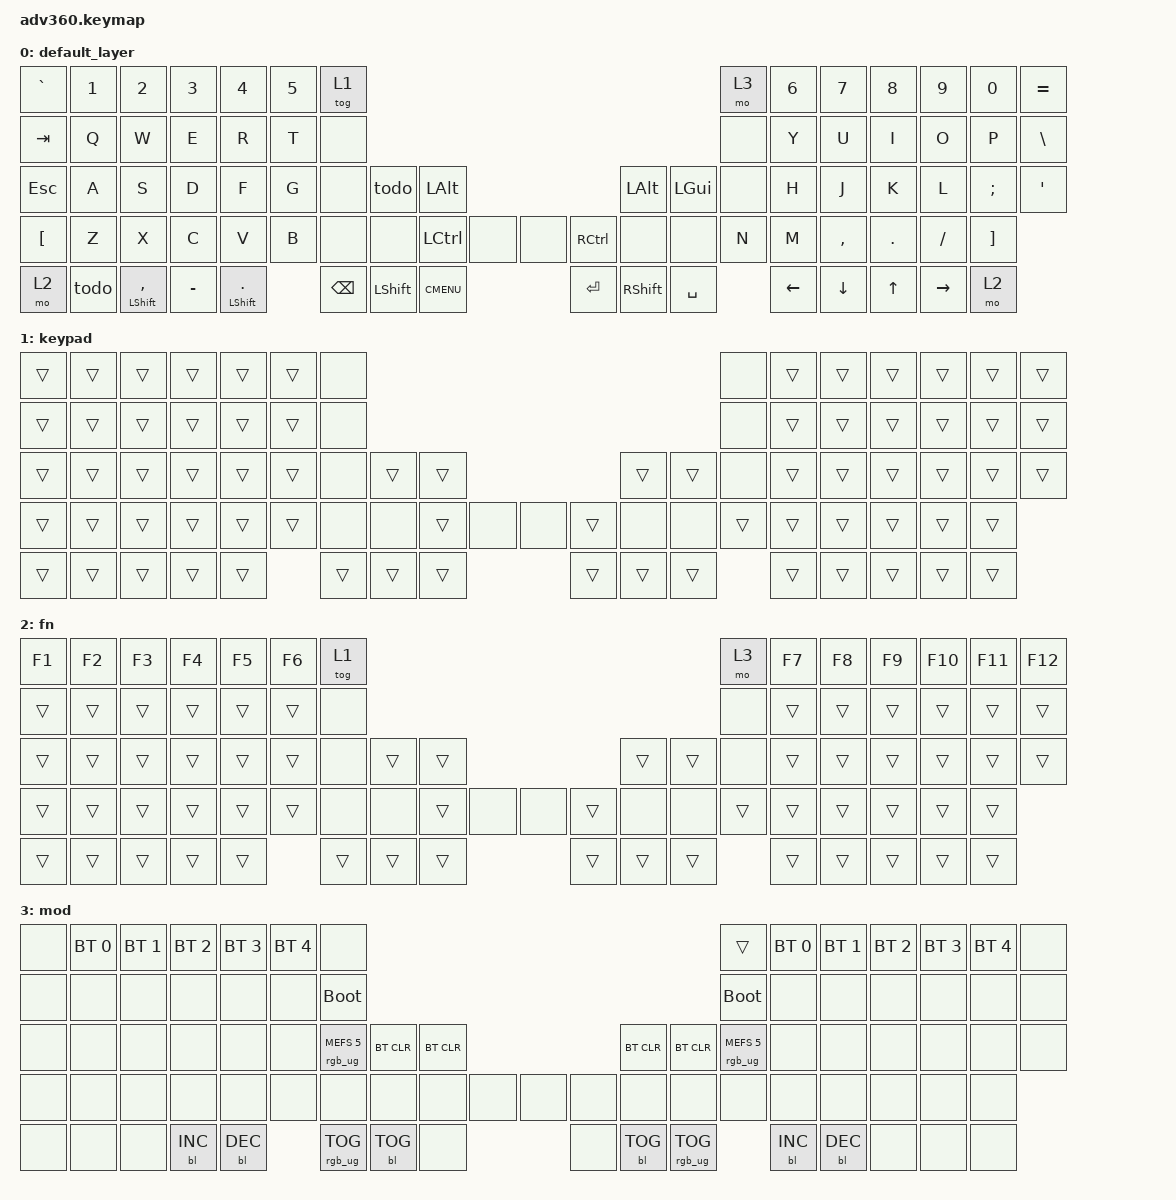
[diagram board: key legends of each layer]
#include <behaviors.dtsi>
#include <dt-bindings/zmk/keys.h>
#include <dt-bindings/zmk/bt.h>
#include <dt-bindings/zmk/rgb.h>
#include <dt-bindings/zmk/backlight.h>

#define todo none

/ {
    behaviors {
      #include "macros.dtsi"

      hm: homerow_mods {
          compatible = "zmk,behavior-hold-tap";
          label = "HOMEROW_MODS";
          #binding-cells = <2>;
          tapping-term-ms = <200>;
          quick_tap_ms = <175>;
          flavor = "tap-preferred";
          bindings = <&kp>, <&kp>;
      };
    };

  keymap {
    compatible = "zmk,keymap";

    default_layer {
      bindings = <
        &kp GRAVE &kp N1    &kp N2          &kp N3    &kp N4        &kp N5 &tog 1                                                                          &mo 3 &kp N6 &kp N7   &kp N8    &kp N9   &kp N0    &kp EQUAL
        &kp TAB   &kp Q     &kp W           &kp E     &kp R         &kp T  &none                                                                           &none &kp Y  &kp U    &kp I     &kp O    &kp P     &kp BSLH
        &kp ESC   &kp A     &kp S           &kp D     &kp F         &kp G  &none           &todo     &kp LALT                &kp LALT  &kp LGUI            &none &kp H  &kp J    &kp K     &kp L    &kp SEMI  &kp SQT
        &kp LBKT  &kp Z     &kp X           &kp C     &kp V         &kp B         &none    &none     &kp LCTRL   &none &none &kp RCTRL &none     &none           &kp N  &kp M    &kp COMMA &kp DOT  &kp FSLH  &kp RBKT
        &mo 2     &todo     &mt LSHFT COMMA &kp MINUS &mt LSHFT DOT               &kp BSPC &kp LSHFT &kp K_CMENU             &kp ENTER &kp RSHFT &kp SPACE              &kp LEFT &kp DOWN  &kp UP   &kp RIGHT &mo 2
      >;
    };
    keypad {
      bindings = <
        &trans &trans &trans &trans &trans &trans  &none                                                       &none &trans &trans &trans &trans  &trans  &trans
        &trans &trans &trans &trans &trans &trans  &none                                                       &none &trans &trans &trans &trans  &trans  &trans
        &trans &trans &trans &trans &trans &trans  &none        &trans &trans             &trans &trans        &none &trans &trans &trans &trans  &trans  &trans
        &trans &trans &trans &trans &trans &trans        &none  &none  &trans &none &none &trans &none  &none        &trans &trans &trans &trans  &trans  &trans
        &trans &trans &trans &trans &trans               &trans &trans &trans             &trans &trans &trans              &trans &trans &trans  &trans  &trans
      >;
    };
    fn {
      bindings = <
        &kp F1 &kp F2 &kp F3 &kp F4 &kp F5 &kp F6 &tog 1                                                       &mo 3 &kp F7 &kp F8 &kp F9 &kp F10 &kp F11 &kp F12
        &trans &trans &trans &trans &trans &trans  &none                                                       &none &trans &trans &trans &trans  &trans  &trans
        &trans &trans &trans &trans &trans &trans  &none        &trans &trans             &trans &trans        &none &trans &trans &trans &trans  &trans  &trans
        &trans &trans &trans &trans &trans &trans        &none  &none  &trans &none &none &trans &none  &none        &trans &trans &trans &trans  &trans  &trans
        &trans &trans &trans &trans &trans               &trans &trans &trans             &trans &trans &trans              &trans &trans &trans  &trans  &trans
      >;
    };
    mod {
      bindings = <
        &none &bt BT_SEL 0 &bt BT_SEL 1 &bt BT_SEL 2 &bt BT_SEL 3 &bt BT_SEL 4 &none                                                                                                          &trans                 &bt BT_SEL 0 &bt BT_SEL 1 &bt BT_SEL 2 &bt BT_SEL 3 &bt BT_SEL 4 &none
        &none &none        &none        &none        &none        &none        &bootloader                                                                                                    &bootloader            &none        &none        &none        &none        &none        &none
        &none &none        &none        &none        &none        &none        &rgb_ug RGB_MEFS_CMD 5                 &bt BT_CLR &bt BT_CLR             &bt BT_CLR &bt BT_CLR                 &rgb_ug RGB_MEFS_CMD 5 &none        &none        &none        &none        &none        &none
        &none &none        &none        &none        &none        &none                               &none           &none      &none      &none &none &none      &none      &none                                  &none        &none        &none        &none        &none        &none
        &none &none        &none        &bl BL_INC   &bl BL_DEC                                       &rgb_ug RGB_TOG &bl BL_TOG &none                  &none      &bl BL_TOG &rgb_ug RGB_TOG                                     &bl BL_INC   &bl BL_DEC   &none        &none        &none
      >;
    };
  };
};
